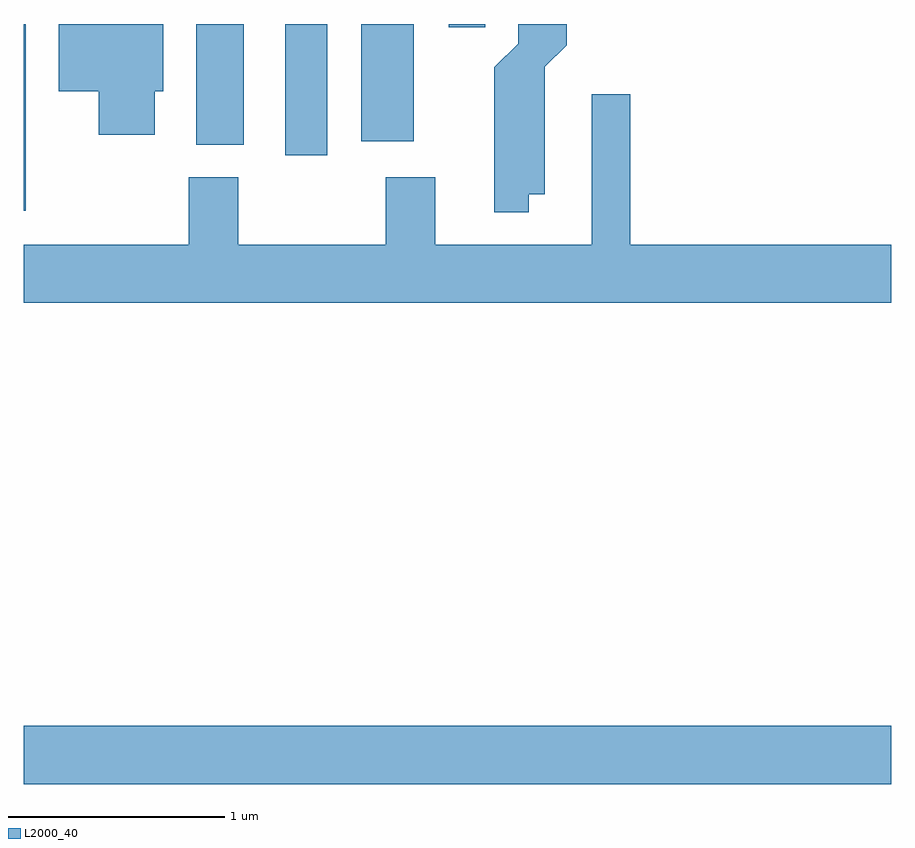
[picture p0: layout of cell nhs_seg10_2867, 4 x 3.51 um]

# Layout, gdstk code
import gdstk
lib = gdstk.Library(unit=1e-6, precision=1e-09)
def R(c, l, rs):  # rectangles x0, y0, x1, y1
    for r in rs: c.add(gdstk.rectangle(r[:2], r[2:], *l))
def P(c, l, *ps):  # polygons
    for p in ps: c.add(gdstk.Polygon(p, *l))
L2000_40 = (2000, 40)

nhs_seg10_2867 = lib.new_cell('nhs_seg10_2867')
R(nhs_seg10_2867, L2000_40, [(269.611,2125.016,273.611,2125.284), (269.611,2127.661,269.619,2128.522), (270.816,2127.916,271.009,2128.522), (270.406,2127.966,270.624,2128.522), (271.166,2127.981,271.409,2128.522), (271.571,2128.508,271.739,2128.522)])
P(nhs_seg10_2867, L2000_40, [(271.939,2127.736),(272.014,2127.736),(272.014,2128.324),(272.114,2128.424),(272.114,2128.522),(271.891,2128.522),(271.891,2128.432),(271.781,2128.322),(271.781,2127.653),(271.939,2127.653)],
  [(270.214,2128.211),(270.254,2128.211),(270.254,2128.522),(269.771,2128.522),(269.771,2128.211),(269.956,2128.211),(269.956,2128.011),(270.214,2128.011)],
  [(273.611,2127.504),(272.409,2127.504),(272.409,2128.199),(272.231,2128.199),(272.231,2127.504),(271.509,2127.504),(271.509,2127.814),(271.281,2127.814),(271.281,2127.504),(270.599,2127.504),(270.599,2127.814),(270.371,2127.814),(270.371,2127.504),(269.611,2127.504),(269.611,2127.236),(273.611,2127.236)])

lib.write_gds('nhs_seg10_2867.gds')
